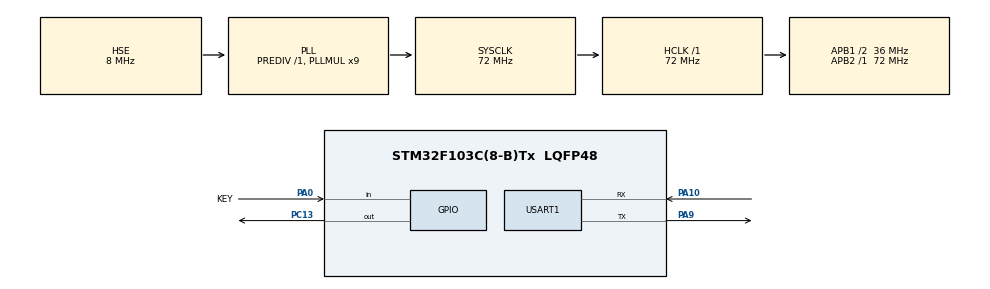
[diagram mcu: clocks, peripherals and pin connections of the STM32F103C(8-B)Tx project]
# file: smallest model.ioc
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Mcu.Family=STM32F1
Mcu.Name=STM32F103C(8-B)Tx
Mcu.Package=LQFP48
NVIC.PriorityGroup=NVIC_PRIORITYGROUP_4
NVIC.TIM2_IRQn=true\:0\:0\:false\:false\:true\:true\:true\:true
PA0-WKUP.GPIO_Label=KEY
PA0-WKUP.GPIO_PuPd=GPIO_PULLUP
PA0-WKUP.Signal=GPIO_Input
PA10.Mode=Asynchronous
PA10.Signal=USART1_RX
PA13.Mode=Serial_Wire
PA13.Signal=SYS_JTMS-SWDIO
PA14.Mode=Serial_Wire
PA14.Signal=SYS_JTCK-SWCLK
PA9.Mode=Asynchronous
PA9.Signal=USART1_TX
PC13-TAMPER-RTC.GPIO_ModeDefaultOutputPP=GPIO_MODE_OUTPUT_PP
PC13-TAMPER-RTC.GPIO_PuPd=GPIO_NOPULL
PC13-TAMPER-RTC.PinState=GPIO_PIN_SET
PC13-TAMPER-RTC.Signal=GPIO_Output
PD0-OSC_IN.Mode=HSE-External-Oscillator
PD0-OSC_IN.Signal=RCC_OSC_IN
PD1-OSC_OUT.Mode=HSE-External-Oscillator
PD1-OSC_OUT.Signal=RCC_OSC_OUT
ProjectManager.HeapSize=0x200
ProjectManager.StackSize=0x400
ProjectManager.TargetToolchain=MDK-ARM V5.32
RCC.ADCPresc=RCC_ADCPCLK2_DIV6
RCC.AHBFreq_Value=72000000
RCC.APB1CLKDivider=RCC_HCLK_DIV2
RCC.APB1Freq_Value=36000000
RCC.APB1TimFreq_Value=72000000
RCC.APB2Freq_Value=72000000
RCC.APB2TimFreq_Value=72000000
RCC.HCLKFreq_Value=72000000
RCC.PLLMUL=RCC_PLL_MUL9
RCC.PLLSourceVirtual=RCC_PLLSOURCE_HSE
RCC.SYSCLKFreq_VALUE=72000000
RCC.SYSCLKSource=RCC_SYSCLKSOURCE_PLLCLK
RCC.USBFreq_Value=72000000
TIM2.AutoReloadPreload=TIM_AUTORELOAD_PRELOAD_ENABLE
TIM2.Period=999
TIM2.Prescaler=71
USART1.VirtualMode=VM_ASYNC
VP_TIM2_VS_ClockSourceINT.Mode=Internal
board=custom

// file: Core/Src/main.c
/* USER CODE BEGIN Header */
/**
  ******************************************************************************
  * @file           : main.c
  * @brief          : Main program body
  ******************************************************************************
  * @attention
  *
  * Copyright (c) 2026 STMicroelectronics.
  * All rights reserved.
  *
  * This software is licensed under terms that can be found in the LICENSE file
  * in the root directory of this software component.
  * If no LICENSE file comes with this software, it is provided AS-IS.
  *
  ******************************************************************************
  */
/* USER CODE END Header */
#include "main.h"
#include "tim.h"
#include "usart.h"
#include "gpio.h"

/* USER CODE BEGIN Includes */
#include <stdio.h>
/* USER CODE END Includes */

/* USER CODE BEGIN PV */
volatile uint8_t key_state = 1;
volatile uint8_t key_event = 0;

uint8_t low_cnt = 0;
uint8_t high_cnt = 0;
uint16_t tick_cnt = 0;
uint8_t tick500 = 0;
/* USER CODE END PV */

void SystemClock_Config(void);

/* USER CODE BEGIN 0 */
int fputc(int ch, FILE *f)
{
    HAL_UART_Transmit(&huart1, (uint8_t *)&ch, 1, 0xFFFF);
    return ch;
}
/* USER CODE END 0 */

int main(void)
{

  /* MCU Configuration--------------------------------------------------------*/

  /* Reset of all peripherals, Initializes the Flash interface and the Systick. */
  HAL_Init();

  /* Configure the system clock */
  SystemClock_Config();

  /* Initialize all configured peripherals */
  MX_GPIO_Init();
  MX_USART1_UART_Init();
  MX_TIM2_Init();
  /* USER CODE BEGIN 2 */
HAL_TIM_Base_Start_IT(&htim2);
  /* USER CODE END 2 */

  /* Infinite loop */
  while (1)
  {

    /* USER CODE BEGIN 3 */
		if(key_event){
			key_event = 0;
		HAL_GPIO_TogglePin(GPIOC, GPIO_PIN_13);
			printf("key pressed @ %lu \r\n",HAL_GetTick());
		}
		if (tick500){
		tick500 = 0;
	printf("tick %lu\r\n",HAL_GetTick());
	}
  }

  /* USER CODE END 3 */
}

void SystemClock_Config(void)
{
  RCC_OscInitTypeDef RCC_OscInitStruct = {0};
  RCC_ClkInitTypeDef RCC_ClkInitStruct = {0};

  /** Initializes the RCC Oscillators according to the specified parameters
  * in the RCC_OscInitTypeDef structure.
  */
  RCC_OscInitStruct.OscillatorType = RCC_OSCILLATORTYPE_HSE;
  RCC_OscInitStruct.HSEState = RCC_HSE_ON;
  RCC_OscInitStruct.HSEPredivValue = RCC_HSE_PREDIV_DIV1;
  RCC_OscInitStruct.HSIState = RCC_HSI_ON;
  RCC_OscInitStruct.PLL.PLLState = RCC_PLL_ON;
  RCC_OscInitStruct.PLL.PLLSource = RCC_PLLSOURCE_HSE;
  RCC_OscInitStruct.PLL.PLLMUL = RCC_PLL_MUL9;
  if (HAL_RCC_OscConfig(&RCC_OscInitStruct) != HAL_OK)
  {
    Error_Handler();
  }

  /** Initializes the CPU, AHB and APB buses clocks
  */
  RCC_ClkInitStruct.ClockType = RCC_CLOCKTYPE_HCLK|RCC_CLOCKTYPE_SYSCLK
                              |RCC_CLOCKTYPE_PCLK1|RCC_CLOCKTYPE_PCLK2;
  RCC_ClkInitStruct.SYSCLKSource = RCC_SYSCLKSOURCE_PLLCLK;
  RCC_ClkInitStruct.AHBCLKDivider = RCC_SYSCLK_DIV1;
  RCC_ClkInitStruct.APB1CLKDivider = RCC_HCLK_DIV2;
  RCC_ClkInitStruct.APB2CLKDivider = RCC_HCLK_DIV1;

  if (HAL_RCC_ClockConfig(&RCC_ClkInitStruct, FLASH_LATENCY_2) != HAL_OK)
  {
    Error_Handler();
  }
}

/* USER CODE BEGIN 4 */
/* USER CODE BEGIN 4 */
void HAL_TIM_PeriodElapsedCallback(TIM_HandleTypeDef *htim)
{   uint8_t raw = HAL_GPIO_ReadPin(GPIOA, GPIO_PIN_0);
    if (htim->Instance != TIM2) return;
    if (raw == GPIO_PIN_RESET)
		{
		   high_cnt = 0;
			if(++low_cnt >= 5)
			{
			   low_cnt = 0;
				if(key_state != 0)
				{
				  key_state = 0;
					key_event = 1;
				}
			}
		}
		else{
		 low_cnt = 0;
			if(++high_cnt >= 5)
			{
			   high_cnt = 0;
				key_state = 1;
			}

		}

if (++tick_cnt >= 500){
   tick_cnt = 0;
	tick500 = 1;
}
}

/* USER CODE END 4 */
/* USER CODE END 4 */

void Error_Handler(void)
{
  __disable_irq();
  while (1)
  {
  }
}
